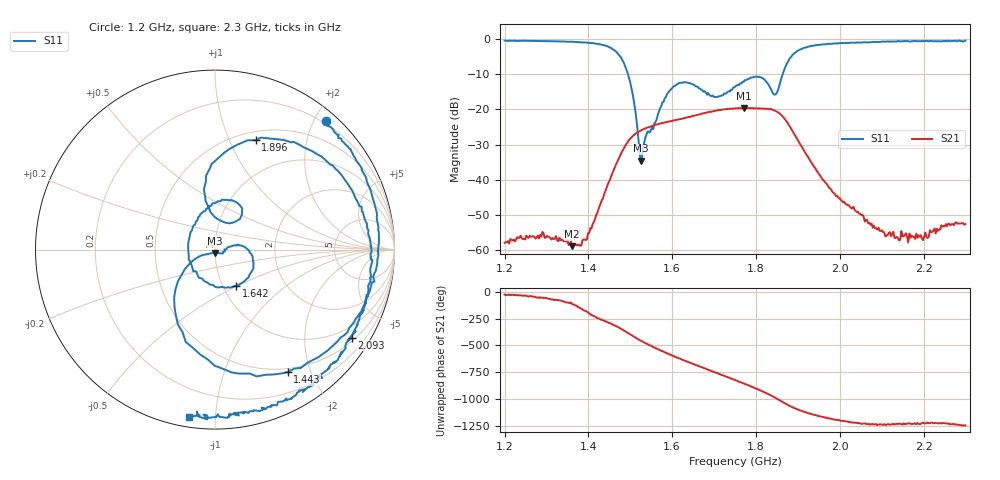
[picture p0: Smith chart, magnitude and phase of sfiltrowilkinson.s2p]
# HZ S RI R 50
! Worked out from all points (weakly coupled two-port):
!   404 points, 1.2 GHz to 2.3 GHz, reference 50 ohm
!   highest |S21| = -19.64 dB at 1.77 GHz (marker M1); lowest = -58.8 dB at 1.361 GHz (marker M2)
!   lowest |S11| = -34.6 dB at 1.525 GHz (marker M3), VSWR 1.04, Z = 49.9 - j1.86 ohm
!   |S11| at or under -10 dB: 1.495 GHz to 1.864 GHz (369.5 MHz wide, 22 % of centre)
!   S12 and S22 are empty: the file has one direction only
!   S11 on the Smith chart (normalised r, x): 1.2 GHz: 0.16, +2.17; 1.443 GHz: 0.45, -1.66; 1.642 GHz: 1.16, -0.49; 1.896 GHz: 0.60, +1.26; 2.093 GHz: 0.60, -3.30; 2.3 GHz: 0.05, -0.86
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1.2e9  0.6169 0.7155  0.00114 -0.000563  0 0  0 0
1.361042e9  0.904 -0.0766  -0.000465 -0.00104  0 0  0 0
1.385608e9  0.8506 -0.2594  -0.00132 -0.000382  0 0  0 0
1.442928e9  0.4046 -0.6823  0.0011 0.00743  0 0  0 0
1.467494e9  -0.00256 -0.6466  0.0138 0.0102  0 0  0 0
1.49206e9  -0.2274 -0.2663  0.0314 -0.0108  0 0  0 0
1.524814e9  -0.000636 -0.0186  -0.00458 -0.0496  0 0  0 0
1.568486e9  0.091 0.0186  -0.0622 -0.000363  0 0  0 0
1.598511e9  0.1938 -0.0164  -0.0422 0.0535  0 0  0 0
1.642184e9  0.1184 -0.2008  0.0408 0.0664  0 0  0 0
1.704963e9  -0.1495 -0.00178  0.078 -0.0557  0 0  0 0
1.751365e9  -0.0834 0.1959  -0.0247 -0.1004  0 0  0 0
1.770472e9  -0.0223 0.2431  -0.074 -0.0734  0 0  0 0
1.811414e9  0.1387 0.2468  -0.0958 0.0366  0 0  0 0
1.846898e9  0.0384 0.1577  -0.000236 0.0946  0 0  0 0
1.871464e9  -0.0492 0.4128  0.0566 0.04  0 0  0 0
1.89603e9  0.2277 0.6091  0.0393 -0.0079  0 0  0 0
1.934243e9  0.6153 0.4989  0.00795 -0.0149  0 0  0 0
2.002482e9  0.8682 0.0182  -0.00277 -0.0044  0 0  0 0
2.092556e9  0.7617 -0.4904  -0.00193 -0.000796  0 0  0 0
2.117122e9  0.6568 -0.6316  -0.00161 -0.000735  0 0  0 0
2.3e9  -0.1439 -0.9317  -0.00228 -0.000578  0 0  0 0
